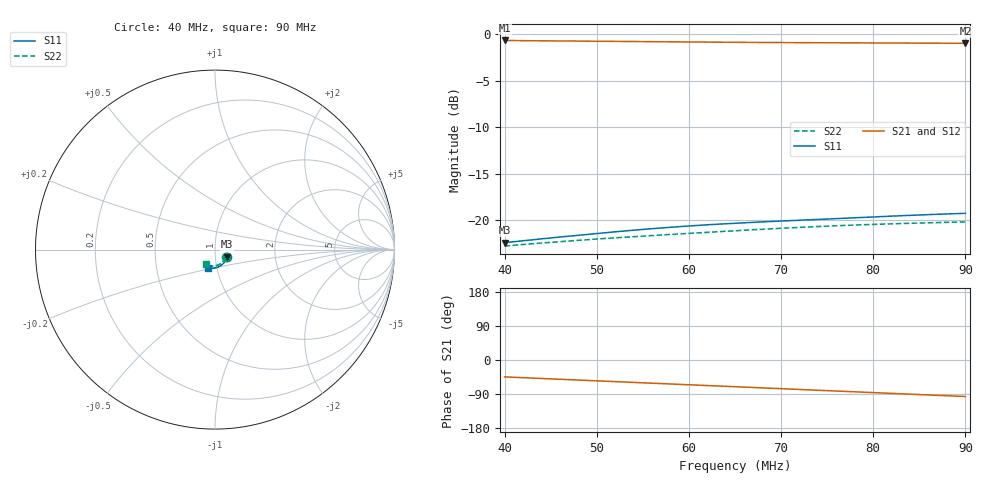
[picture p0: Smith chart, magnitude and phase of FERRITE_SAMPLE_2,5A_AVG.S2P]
!Agilent Technologies,E5061B,MY49102235,A.02.00
!Date: Mon Jul 03 11:01:40 2023
!Data & Calibration Information:
!Freq	S11:SOLT2(ON)	S21:SOLT2(ON)	S12:SOLT2(ON)	S22:SOLT2(ON)
# Hz S RI R 50
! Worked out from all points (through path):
!   1600 points, 40 MHz to 90 MHz, reference 50 ohm
!   highest |S21| = -0.66 dB at 40.03 MHz (marker M1); lowest = -1.0 dB at 90 MHz (marker M2)
!   group delay of S21, straight-line fit = 2.87 ns
!   lowest |S11| = -22.4 dB at 40 MHz (marker M3), VSWR 1.16, Z = 56.7 - j4.55 ohm
!   |S11| at or under -10 dB: start of sweep to end of sweep
!   |S22| runs from -22.8 to -20.2 dB; largest |S21 - S12| = 0.0011
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4e7  0.0642 -0.0399  0.66 -0.6506  0.66 -0.6497  0.059 -0.0419
4.003127e7  0.0642 -0.04  0.6596 -0.6509  0.6597 -0.6499  0.059 -0.042
4.087555e7  0.0639 -0.0419  0.6487 -0.6604  0.649 -0.6595  0.0583 -0.044
4.450281e7  0.0617 -0.0506  0.6013 -0.6988  0.6013 -0.6984  0.0547 -0.0523
4.834897e7  0.058 -0.0598  0.5488 -0.7363  0.5489 -0.7359  0.0494 -0.0604
5.225766e7  0.0528 -0.0687  0.4933 -0.7706  0.4935 -0.7701  0.0429 -0.068
5.482176e7  0.049 -0.0742  0.4559 -0.7906  0.4562 -0.7905  0.038 -0.0725
5.666667e7  0.0458 -0.078  0.4287 -0.804  0.4288 -0.8037  0.0342 -0.0754
6.06379e7  0.0382 -0.0853  0.369 -0.8299  0.3691 -0.8295  0.0256 -0.0812
6.273296e7  0.0337 -0.0886  0.3371 -0.8419  0.3372 -0.8415  0.0206 -0.0839
6.501563e7  0.0284 -0.0918  0.3017 -0.8538  0.3019 -0.8532  0.015 -0.0864
6.901814e7  0.0187 -0.0965  0.2392 -0.8712  0.2394 -0.8706  0.00442 -0.0898
7.133208e7  0.0129 -0.0986  0.2025 -0.8793  0.2027 -0.8786  -0.00196 -0.0909
7.33646e7  0.00752 -0.1003  0.1699 -0.8854  0.1703 -0.8847  -0.00763 -0.0917
7.533458e7  0.00252 -0.1014  0.1382 -0.89  0.1386 -0.8894  -0.0129 -0.092
7.746091e7  -0.00319 -0.1025  0.1039 -0.8937  0.1042 -0.8931  -0.019 -0.0919
7.936836e7  -0.00842 -0.1032  0.0728 -0.8959  0.0733 -0.8955  -0.0243 -0.0913
8.16823e7  -0.0146 -0.1038  0.0353 -0.8972  0.0358 -0.897  -0.0306 -0.0903
8.358974e7  -0.0197 -0.1039  0.00424 -0.8973  0.00472 -0.8968  -0.0357 -0.0891
8.596623e7  -0.026 -0.1038  -0.0342 -0.8956  -0.0339 -0.8954  -0.0417 -0.0872
8.971857e7  -0.0358 -0.1026  -0.0945 -0.8898  -0.0945 -0.8895  -0.0512 -0.0833
9e7  -0.0365 -0.1025  -0.0989 -0.8892  -0.099 -0.889  -0.0519 -0.083
